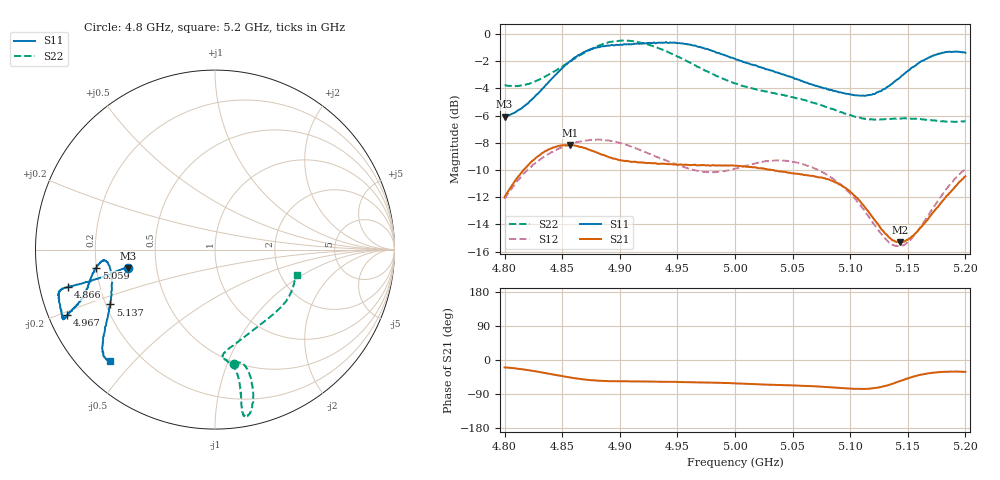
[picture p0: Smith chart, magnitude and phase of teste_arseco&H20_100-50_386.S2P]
! Network Analyzer HP8722D
! Hewlett-Packard
! Data name: Linha & Wilkinson
! Saver's name: Rodrigo Anjos
! Comments: Teste da utilização de aquisição
! continua pelo VNA HP8722D
! Time and date: 6/5/2025 15:47
!  Frequency  S11  S21  S12  S22
# HZ  S  MA R 50
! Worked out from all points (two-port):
!   401 points, 4.8 GHz to 5.2 GHz, reference 50 ohm
!   highest |S21| = -8.17 dB at 4.857 GHz (marker M1); lowest = -15.3 dB at 5.143 GHz (marker M2)
!   |S21| within 3 dB of the highest: 4.806 GHz to 5.093 GHz (286.8 MHz wide, 5.79 % of centre); 5.191899 GHz to end of sweep
!   lowest |S11| = -6.1 dB at 4.8 GHz (marker M3), VSWR 2.97, Z = 17 - j4.61 ohm
!   |S11| at or under -10 dB: nowhere
!   |S22| runs from -6.5 to -0.5 dB; largest |S21 - S12| = 0.62
!   S11 on the Smith chart (normalised r, x): 4.8 GHz: 0.34, -0.09; 4.866 GHz: 0.09, -0.12; 4.967 GHz: 0.05, -0.21; 5.059 GHz: 0.20, -0.07; 5.137 GHz: 0.22, -0.24; 5.2 GHz: 0.09, -0.43
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4.8e9  0.4962 -168.1  0.2517 -19.5  0.2475 -140.7  0.6478 -80.4
4.829e9  0.6031 -166.9  0.3548 -31.0  0.3411 -144.9  0.6764 -75.1
4.857e9  0.7946 -165.8  0.3905 -46.1  0.3933 -150.1  0.792 -74.7
4.866e9  0.8424 -165.8  0.3837 -50.1  0.4022 -151.7  0.837 -75.2
4.867e9  0.8466 -165.7  0.3838 -50.6  0.4035 -151.8  0.8425 -75.3
4.883e9  0.8955 -164.8  0.362 -54.8  0.4087 -154.6  0.9092 -77.0
4.902e9  0.9112 -162.2  0.3427 -56.2  0.396 -156.7  0.946 -79.3
4.934e9  0.9294 -156.2  0.3325 -57.4  0.3511 -155.6  0.8845 -80.3
4.967e9  0.9007 -156.0  0.3287 -58.7  0.3138 -147.8  0.7581 -79.6
5e9  0.8101 -158.9  0.3279 -61.7  0.3198 -137.0  0.6584 -81.2
5.035e9  0.7227 -165.2  0.3142 -65.8  0.343 -134.3  0.6041 -85.6
5.059e9  0.6681 -171.3  0.3038 -67.9  0.3318 -135.9  0.5725 -84.4
5.067e9  0.6513 -173.0  0.3011 -69.0  0.3234 -136.7  0.5595 -82.7
5.083e9  0.6228 -174.4  0.2894 -72.2  0.2976 -138.0  0.5314 -76.8
5.101e9  0.5987 -172.0  0.2611 -75.6  0.2563 -138.7  0.5016 -66.6
5.115e9  0.5946 -165.9  0.2244 -75.9  0.216 -135.8  0.4869 -56.5
5.134e9  0.6446 -154.2  0.1782 -65.4  0.1707 -120.9  0.4863 -43.3
5.137e9  0.6591 -152.4  0.1741 -62.6  0.1678 -117.0  0.4878 -41.5
5.143e9  0.6904 -149.2  0.1711 -55.9  0.1661 -109.2  0.4882 -38.0
5.154e9  0.7539 -144.4  0.1806 -44.6  0.1787 -95.1  0.4872 -32.4
5.172e9  0.8324 -139.0  0.2207 -33.5  0.2293 -81.2  0.4806 -24.5
5.2e9  0.8523 -133.5  0.2997 -31.3  0.3185 -76.7  0.4771 -17.5
